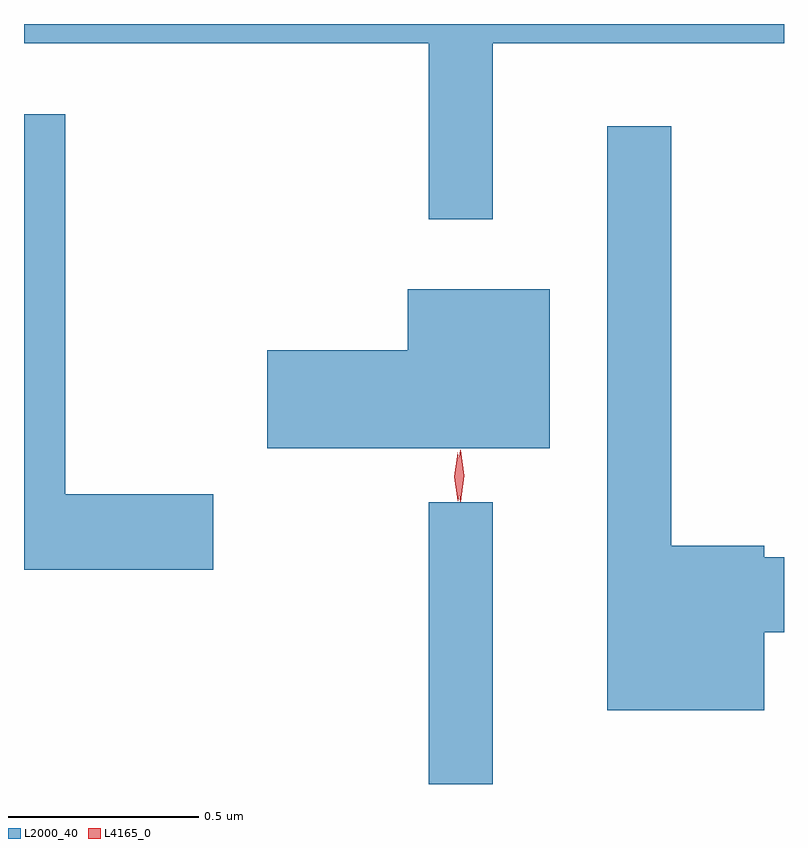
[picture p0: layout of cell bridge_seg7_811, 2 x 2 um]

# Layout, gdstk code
import gdstk
lib = gdstk.Library(unit=1e-6, precision=1e-09)
def R(c, l, rs):  # rectangles x0, y0, x1, y1
    for r in rs: c.add(gdstk.rectangle(r[:2], r[2:], *l))
def P(c, l, *ps):  # polygons
    for p in ps: c.add(gdstk.Polygon(p, *l))
L2000_40 = (2000, 40)
L4165_0 = (4165, 0)

bridge_seg7_811 = lib.new_cell('bridge_seg7_811')
R(bridge_seg7_811, L2000_40, [(244.581,1736.787,244.749,1737.528)])
P(bridge_seg7_811, L2000_40, [(245.516,1738.787),(243.516,1738.787),(243.516,1738.736),(244.581,1738.736),(244.581,1738.273),(244.749,1738.273),(244.749,1738.736),(245.516,1738.736)],
  [(244.014,1737.549),(243.624,1737.549),(243.624,1738.549),(243.516,1738.549),(243.516,1737.351),(244.014,1737.351)],
  [(245.464,1737.186),(245.516,1737.186),(245.516,1737.384),(245.464,1737.384),(245.464,1737.414),(245.219,1737.414),(245.219,1738.518),(245.051,1738.518),(245.051,1736.981),(245.464,1736.981)],
  [(244.899,1738.089),(244.526,1738.089),(244.526,1737.929),(244.156,1737.929),(244.156,1737.671),(244.899,1737.671)])
P(bridge_seg7_811, L4165_0, [(244.658,1737.533),(244.658,1737.533),(244.648,1737.596),(244.657,1737.659),(244.658,1737.66),(244.658,1737.659),(244.668,1737.596),(244.659,1737.533)],
  [(244.664,1737.53),(244.655,1737.598),(244.664,1737.665),(244.664,1737.666),(244.665,1737.665),(244.674,1737.598),(244.665,1737.53),(244.665,1737.53)])

lib.write_gds('bridge_seg7_811.gds')
